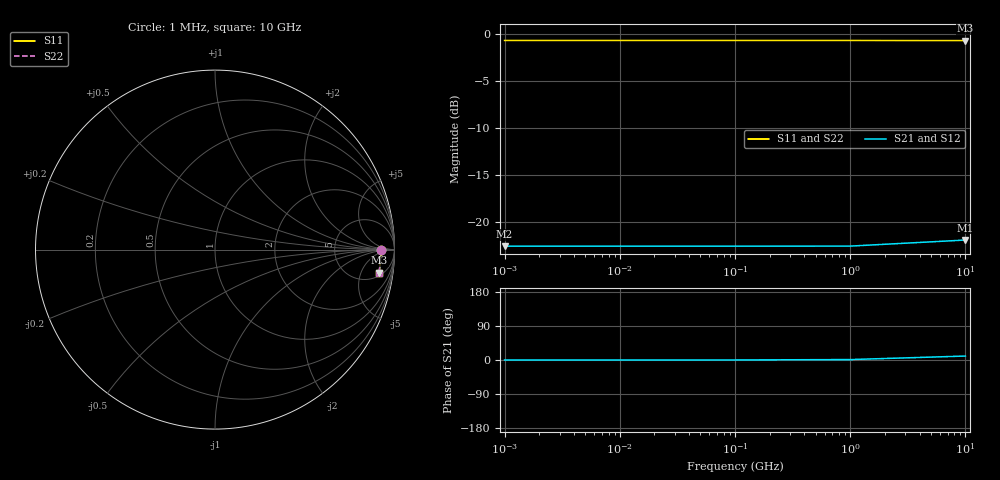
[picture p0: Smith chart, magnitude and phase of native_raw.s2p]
! Sonnet Data File
! From: em Version : 18.53-Lite
! From Project: arr_f5x2
! Data is NOT De-embedded
! Data File Written: 10/11/2026 13:26:02
!< HDATE 10/11/2026 13:26:02
!< MDATE 10/11/2026 13:26:02
# GHZ S RI R 50.00000
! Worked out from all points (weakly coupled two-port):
!   5 points, 1 MHz to 10 GHz, reference 50 ohm
!   highest |S21| = -21.96 dB at 10 GHz (marker M1); lowest = -22.6 dB at 1 MHz (marker M2)
!   lowest |S11| = -0.7 dB at 10 GHz (marker M3), VSWR 25.29, Z = 308 - j541 ohm
!   |S11| at or under -10 dB: nowhere
!   |S22| runs from -0.7 to -0.7 dB; largest |S21 - S12| = 7.6e-11
0.001  0.926 -1.28e-05  0.074 1.45e-06  0.074 1.45e-06  0.926 -1.28e-05
0.01  0.926 -0.000128  0.074 1.45e-05  0.074 1.45e-05  0.926 -0.000128
0.1  0.926 -0.00128  0.074 0.000145  0.074 0.000145  0.926 -0.00128
1  0.9259 -0.0128  0.0741 0.00145  0.0741 0.00145  0.9259 -0.0128
10  0.9149 -0.1287  0.0785 0.0144  0.0785 0.0144  0.9149 -0.1287
